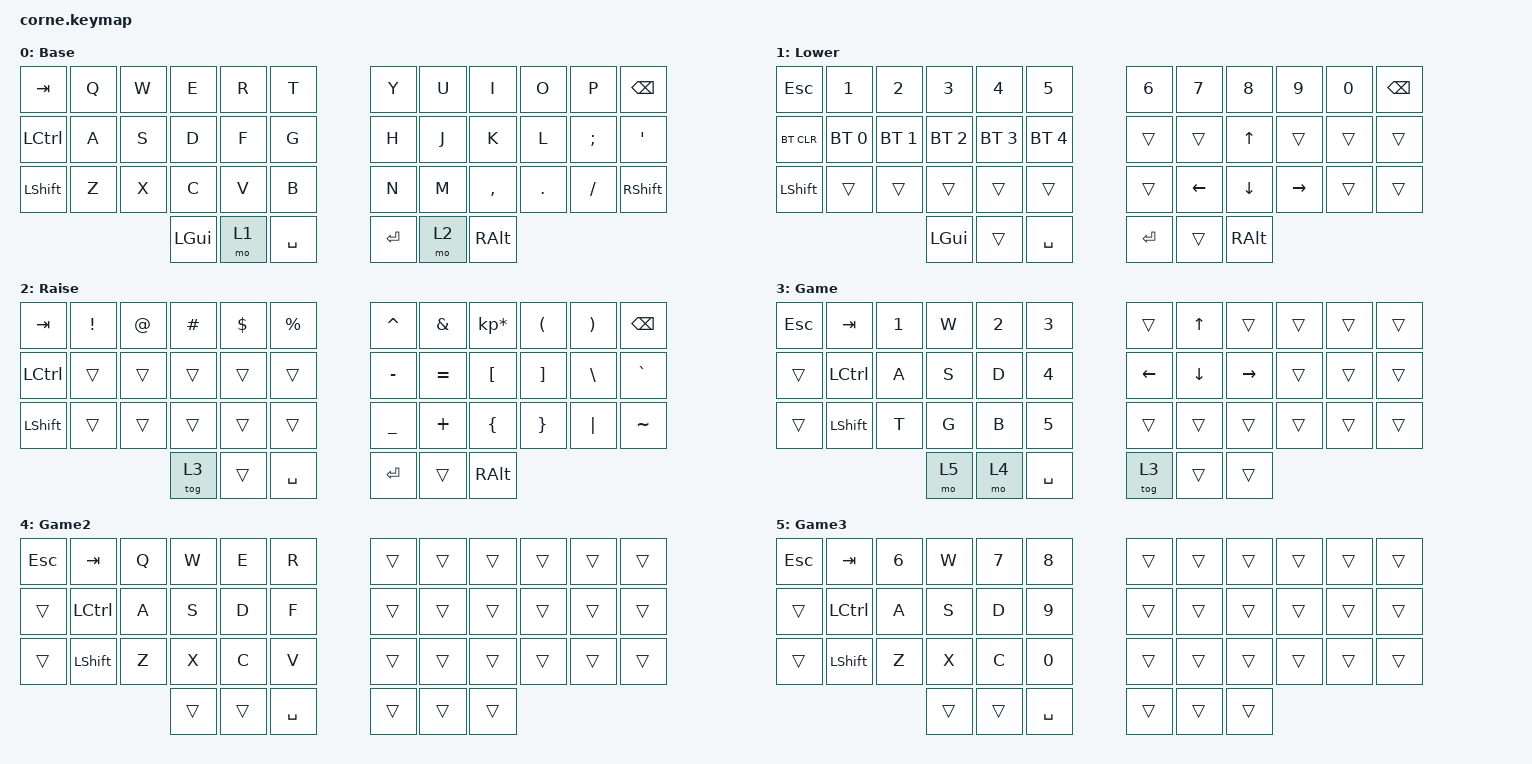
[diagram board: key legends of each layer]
/*
 * Copyright (c) 2020 The ZMK Contributors
 *
 * SPDX-License-Identifier: MIT
 */

#include <behaviors.dtsi>
#include <dt-bindings/zmk/keys.h>
#include <dt-bindings/zmk/bt.h>

/ {
        keymap {
                compatible = "zmk,keymap";

                default_layer {
// -----------------------------------------------------------------------------------------
// |  TAB |  Q  |  W  |  E  |  R  |  T  |   |  Y  |  U   |  I  |  O  |  P  | BKSP |
// | CTRL |  A  |  S  |  D  |  F  |  G  |   |  H  |  J   |  K  |  L  |  ;  |  '   |
// | SHFT |  Z  |  X  |  C  |  V  |  B  |   |  N  |  M   |  ,  |  .  |  /  | SHFT |
//                    | GUI | LWR | SPC |   | ENT | RSE  | ALT |
                        label = "Base";
                        bindings = <
   &kp TAB   &kp Q &kp W &kp E &kp R &kp T   &kp Y &kp U  &kp I     &kp O   &kp P    &kp BSPC
   &kp LCTRL &kp A &kp S &kp D &kp F &kp G   &kp H &kp J  &kp K     &kp L   &kp SEMI &kp SQT
   &kp LSHFT &kp Z &kp X &kp C &kp V &kp B   &kp N &kp M  &kp COMMA &kp DOT &kp FSLH &kp RSHFT
                  &kp LGUI &mo 1 &kp SPACE   &kp RET &mo 2 &kp RALT
                        >;
                };

                lower_layer {
// -----------------------------------------------------------------------------------------
// |  ESC |  1  |  2  |  3  |  4  |  5  |   |  6  |  7  |  8  |  9  |  0  | BKSP |
// | BTCLR| BT1 | BT2 | BT3 | BT4 | BT5 |   |     |     |  UP |     |     |      |
// | SHFT |     |     |     |     |     |   |     | LFT | DWN | RGT |     |      |
//                    | GUI |     | SPC |   | ENT |     | ALT |
                        label = "Lower";
                        bindings = <
   &kp ESC    &kp N1       &kp N2       &kp N3       &kp N4       &kp N5         &kp N6 &kp N7   &kp N8   &kp N9    &kp N0 &kp BSPC
   &bt BT_CLR &bt BT_SEL 0 &bt BT_SEL 1 &bt BT_SEL 2 &bt BT_SEL 3 &bt BT_SEL 4   &trans &trans   &kp UP   &trans    &trans &trans
   &kp LSHFT  &trans       &trans       &trans       &trans       &trans         &trans &kp LEFT &kp DOWN &kp RIGHT &trans &trans
                          	        &kp LGUI     &trans       &kp SPACE      &kp RET  &trans   &kp RALT
                        >;
                };

                raise_layer {
// -----------------------------------------------------------------------------------------
// |  TAB |  !  |  @  |  #  |  $  |  %  |   |  ^  |  &  |  *  |  (  |  )  | BKSP |
// | CTRL |     |     |     |     |     |   |  -  |  =  |  [  |  ]  |  \  |  `   |
// | SHFT |     |     |     |     |     |   |  _  |  +  |  {  |  }  | "|" |  ~   |
//                    | GME |     | SPC |   | ENT |     | ALT |
                        label = "Raise";
                        bindings = <
   &kp  TAB  &kp EXCL &kp AT &kp HASH &kp DLLR &kp PRCNT   &kp CARET &kp AMPS  &kp KP_MULTIPLY &kp LPAR &kp RPAR &kp BSPC
   &kp LCTRL &trans   &trans &trans   &trans   &trans      &kp MINUS &kp EQUAL &kp LBKT        &kp RBKT &kp BSLH &kp GRAVE
   &kp LSHFT &trans   &trans &trans   &trans   &trans      &kp UNDER &kp PLUS  &kp LBRC        &kp RBRC &kp PIPE &kp TILDE
                    	     &tog 3   &trans   &kp SPACE   &kp RET   &trans    &kp RALT
                        >;
                };

                game_layer {
// -----------------------------------------------------------------------------------------
// |  ESC | TAB |  1  |  W  |  2  |  3  |   |     |  UP  |     |     |     |      |
// |      | CTRL|  A  |  S  |  D  |  4  |   | LFT |  DWN | RGT |     |     |      |
// |      | SHFT|  T  |  G  |  B  |  5  |   |     |      |     |     |     |      |
//                    | GME3| GME2| SPC |   | GME |      |     |
                        label = "Game";
                        bindings = <
   &kp ESC &kp TAB   &kp N1 &kp W &kp N2 &kp N3   &trans   &kp UP   &trans    &trans &trans &trans
   &trans  &kp LCTRL &kp A  &kp S &kp D  &kp N4   &kp LEFT &kp DOWN &kp RIGHT &trans &trans &trans
   &trans  &kp LSHFT &kp T  &kp G &kp B  &kp N5   &trans   &trans   &trans    &trans &trans &trans
                          &mo 5 &mo 4 &kp SPACE   &tog 3 &trans &trans
                        >;
                };

                game2_layer {
// -----------------------------------------------------------------------------------------
// |  ESC | TAB |  Q  |  W  |  E  |  R  |   |     |      |     |     |     |      |
// |      | CTRL|  A  |  S  |  D  |  F  |   |     |      |     |     |     |      |
// |      | SHFT|  Z  |  X  |  C  |  V  |   |     |      |     |     |     |      |
//                    |     |     | SPC |   |     |      |     |
                        label = "Game2";
                        bindings = <
   &kp ESC &kp TAB   &kp Q  &kp W &kp E  &kp R   &trans &trans &trans &trans &trans &trans
   &trans  &kp LCTRL &kp A  &kp S &kp D  &kp F   &trans &trans &trans &trans &trans &trans
   &trans  &kp LSHFT &kp Z  &kp X &kp C  &kp V   &trans &trans &trans &trans &trans &trans
                       &trans &trans &kp SPACE   &trans &trans &trans
                        >;
                };

                game3_layer {
// -----------------------------------------------------------------------------------------
// |  ESC | TAB |  6  |  W  |  7  |  8  |   |     |      |     |     |     |      |
// |      | CTRL|  A  |  S  |  D  |  9  |   |     |      |     |     |     |      |
// |      | SHFT|  Z  |  X  |  C  |  0  |   |     |      |     |     |     |      |
//                    |     |     | SPC |   |     |      |     |
                        label = "Game3";
                        bindings = <
   &kp ESC &kp TAB   &kp N6 &kp W &kp N7 &kp N8   &trans &trans &trans &trans &trans &trans
   &trans  &kp LCTRL &kp A  &kp S &kp D  &kp N9   &trans &trans &trans &trans &trans &trans
   &trans  &kp LSHFT &kp Z  &kp X &kp C  &kp N0   &trans &trans &trans &trans &trans &trans
                        &trans &trans &kp SPACE   &trans &trans &trans
                        >;
                };

        };
};
